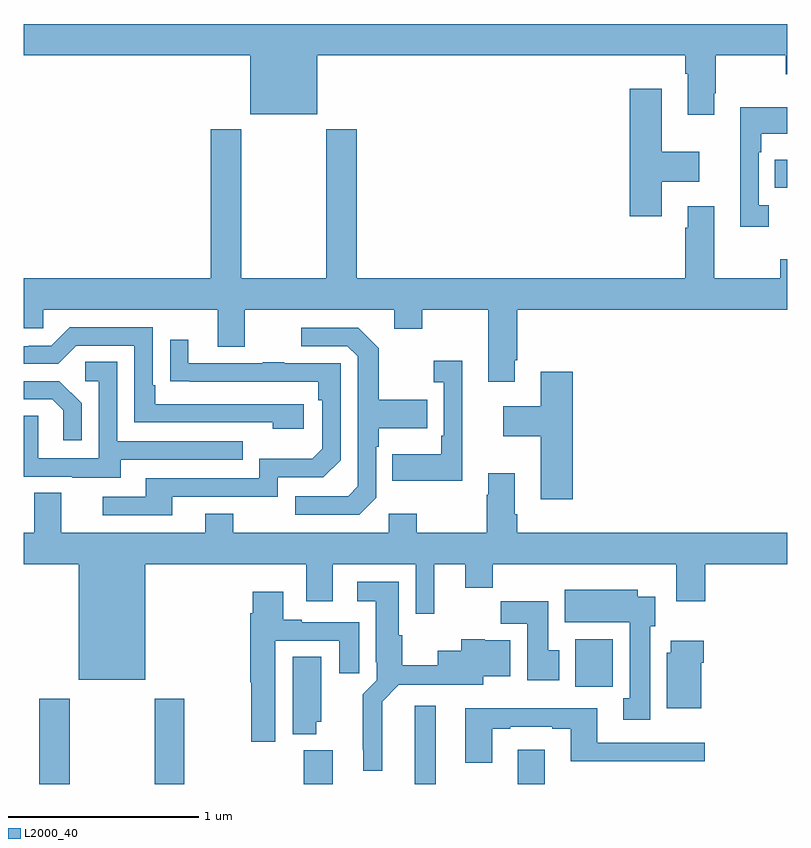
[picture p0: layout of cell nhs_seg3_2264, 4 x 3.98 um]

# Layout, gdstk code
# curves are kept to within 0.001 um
import gdstk
lib = gdstk.Library(unit=1e-6, precision=1e-09)
def R(c, l, rs):  # rectangles x0, y0, x1, y1
    for r in rs: c.add(gdstk.rectangle(r[:2], r[2:], *l))
def P(c, l, *ps):  # polygons
    for p in ps: c.add(gdstk.Polygon(p, *l))
L2000_40 = (2000, 40)

nhs_seg3_2264 = lib.new_cell('nhs_seg3_2264')
R(nhs_seg3_2264, L2000_40, [(227.081,730.4,227.241,730.846), (227.686,730.4,227.841,730.846), (228.467,730.4,228.619,730.576), (229.049,730.4,229.159,730.81), (229.589,730.4,229.729,730.579), (229.889,730.908,230.085,731.158), (230.935,733.522,231,733.669)])
P(nhs_seg3_2264, L2000_40, [(230.617,734.017),(230.625,734.017),(230.625,734.216),(230.992,734.216),(230.992,734.117),(231,734.117),(231,734.38),(227,734.38),(227,734.216),(228.188,734.216),(228.188,733.907),(228.538,733.907),(228.538,734.216),(230.465,734.216),(230.465,734.12),(230.477,734.12),(230.477,733.905),(230.617,733.905)],
  [(230.341,733.553),(230.539,733.553),(230.539,733.711),(230.341,733.711),(230.341,734.041),(230.174,734.041),(230.174,733.374),(230.341,733.374)],
  [(230.902,733.43),(230.85,733.43),(230.85,733.709),(230.863,733.709),(230.863,733.805),(231,733.805),(231,733.945),(230.753,733.945),(230.753,733.317),(230.902,733.317)],
  [(229.573,732.619),(229.586,732.619),(229.586,732.884),(231,732.884),(231,733.147),(230.962,733.147),(230.962,733.048),(230.617,733.048),(230.617,733.426),(230.477,733.426),(230.477,733.313),(230.465,733.313),(230.465,733.048),(228.746,733.048),(228.746,733.828),(228.586,733.828),(228.586,733.048),(228.141,733.048),(228.141,733.828),(227.981,733.828),(227.981,733.048),(227,733.048),(227,732.786),(227.103,732.786),(227.103,732.884),(228.017,732.884),(228.017,732.69),(228.157,732.69),(228.157,732.884),(228.941,732.884),(228.941,732.785),(229.089,732.785),(229.089,732.884),(229.433,732.884),(229.433,732.507),(229.573,732.507)],
  [(228.466,732.39),(227.689,732.39),(227.689,732.487),(227.676,732.487),(227.676,732.792),(227.241,732.792),(227.145,732.696),(227.027,732.696),(227.027,732.693),(227,732.693),(227,732.6),(227.181,732.6),(227.277,732.696),(227.58,732.696),(227.58,732.294),(228.305,732.294),(228.305,732.26),(228.466,732.26)],
  [(228.846,731.898),(228.846,732.167),(228.859,732.167),(228.859,732.263),(229.115,732.263),(229.115,732.411),(228.859,732.411),(228.859,732.683),(228.753,732.789),(228.453,732.789),(228.453,732.693),(228.696,732.693),(228.75,732.639),(228.75,731.958),(228.699,731.907),(228.423,731.907),(228.423,731.811),(228.759,731.811)],
  [(227.779,731.904),(228.33,731.904),(228.33,732.006),(228.57,732.006),(228.66,732.096),(228.66,732.603),(228.365,732.603),(228.365,732.608),(228.253,732.608),(228.253,732.603),(227.863,732.603),(227.863,732.727),(227.767,732.727),(227.767,732.508),(228.544,732.507),(228.544,732.41),(228.564,732.41),(228.564,732.156),(228.511,732.103),(228.234,732.103),(228.234,732),(227.639,732),(227.639,731.904),(227.415,731.904),(227.415,731.808),(227.779,731.808)],
  [(229.298,732.616),(229.149,732.616),(229.149,732.503),(229.2,732.503),(229.2,732.223),(229.188,732.223),(229.188,732.127),(228.931,732.127),(228.931,731.987),(229.298,731.987)],
  [(227.509,732.099),(228.149,732.099),(228.149,732.195),(227.49,732.195),(227.49,732.611),(227.322,732.611),(227.322,732.51),(227.394,732.51),(227.394,732.105),(227.076,732.105),(227.076,732.329),(227,732.329),(227,732.009),(227.255,732.009),(227.255,732.005),(227.509,732.005)],
  [(229.877,732.559),(229.709,732.559),(229.709,732.379),(229.512,732.379),(229.512,732.221),(229.709,732.221),(229.709,731.892),(229.877,731.892)],
  [(227.304,732.394),(227.188,732.51),(227,732.51),(227,732.414),(227.15,732.414),(227.207,732.357),(227.207,732.201),(227.304,732.201)],
  [(227.638,731.552),(228.479,731.552),(228.479,731.358),(228.619,731.358),(228.619,731.552),(229.053,731.552),(229.053,731.292),(229.15,731.292),(229.15,731.552),(229.313,731.552),(229.313,731.428),(229.457,731.428),(229.457,731.552),(230.417,731.552),(230.417,731.358),(230.57,731.358),(230.57,731.552),(231,731.552),(231,731.716),(229.586,731.716),(229.586,731.812),(229.573,731.812),(229.573,732.028),(229.433,732.028),(229.433,731.915),(229.426,731.915),(229.426,731.716),(229.059,731.716),(229.059,731.815),(228.912,731.815),(228.912,731.716),(228.099,731.716),(228.099,731.815),(227.951,731.815),(227.951,731.716),(227.197,731.716),(227.197,731.924),(227.057,731.924),(227.057,731.716),(227,731.716),(227,731.552),(227.288,731.552),(227.288,730.946),(227.638,730.946)],
  [(228.877,730.832),(228.964,730.92),(229.408,730.92),(229.408,730.964),(229.549,730.964),(229.549,731.152),(229.416,731.152),(229.416,731.158),(229.291,731.158),(229.291,731.098),(229.169,731.098),(229.169,731.021),(228.982,731.021),(228.982,731.178),(228.964,731.178),(228.964,731.458),(228.747,731.458),(228.747,731.357),(228.845,731.357),(228.845,731.038),(228.849,731.038),(228.849,730.944),(228.775,730.87),(228.775,730.579),(228.779,730.579),(228.779,730.469),(228.877,730.469)],
  [(230.281,731.226),(230.308,731.226),(230.308,731.38),(230.215,731.38),(230.215,731.416),(229.835,731.416),(229.835,731.246),(230.174,731.246),(230.174,730.849),(230.141,730.849),(230.141,730.737),(230.281,730.737)],
  [(228.319,731.151),(228.653,731.151),(228.653,730.98),(228.757,730.98),(228.757,731.247),(228.457,731.247),(228.457,731.26),(228.361,731.26),(228.361,731.407),(228.2,731.407),(228.2,731.294),(228.188,731.294),(228.188,730.932),(228.193,730.932),(228.193,730.62),(228.319,730.62)],
  [(229.804,731.1),(229.747,731.1),(229.747,731.358),(229.498,731.358),(229.498,731.24),(229.637,731.24),(229.637,730.944),(229.804,730.944)],
  [(230.548,731.036),(230.561,731.036),(230.561,731.149),(230.39,731.149),(230.39,731.088),(230.369,731.088),(230.369,730.796),(230.548,730.796)],
  [(228.532,730.725),(228.559,730.725),(228.559,731.066),(228.41,731.066),(228.41,730.661),(228.532,730.661)],
  [(229.453,730.689),(229.549,730.689),(229.549,730.701),(229.769,730.701),(229.769,730.689),(229.865,730.689),(229.865,730.52),(230.566,730.52),(230.566,730.617),(230.005,730.617),(230.005,730.798),(229.313,730.798),(229.313,730.512),(229.453,730.512)])

lib.write_gds('nhs_seg3_2264.gds')
